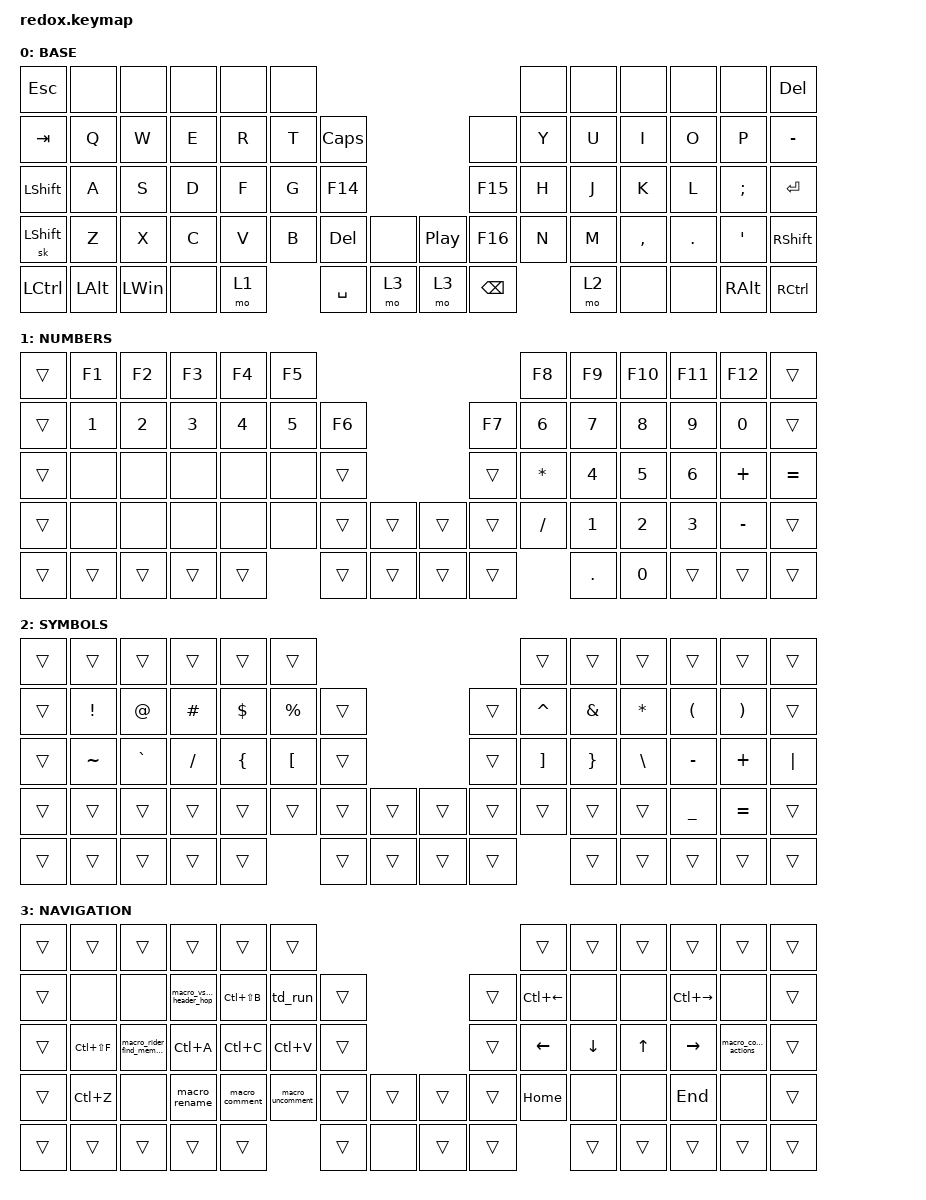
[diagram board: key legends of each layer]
/*
 * Copyright (c) 2021 The ZMK Contributors
 *
 * SPDX-License-Identifier: MIT
 */

#include <behaviors.dtsi>
#include <dt-bindings/zmk/keys.h>

/* 
 * ------------------------------------------- START MOUSE RELATED MAPPINGS ------------------------------------------- 
 * #include <dt-bindings/zmk/mouse.h> 
 * 
 * #define U_MOUSE_MOVE_MAX 3000                   
 * #define U_MOUSE_SCROLL_MAX 50                    
 * #define U_MOUSE_MOVE_EXPONENT 1
 * #define U_MOUSE_MOVE_TIME 1000
 * #define U_MOUSE_MOVE_DELAY 0
 * #define U_MOUSE_SCROLL_EXPONENT 1
 * #define U_MOUSE_SCROLL_TIME 3000
 * #define U_MOUSE_SCROLL_DELAY 0
 * 
 * #undef MOVE_UP
 * #undef MOVE_DOWN
 * #undef MOVE_LEFT
 * #undef MOVE_RIGHT
 * 
 * #define MOVE_UP MOVE_VERT(-U_MOUSE_MOVE_MAX)
 * #define MOVE_DOWN MOVE_VERT(U_MOUSE_MOVE_MAX)
 * #define MOVE_LEFT MOVE_HOR(-U_MOUSE_MOVE_MAX)
 * #define MOVE_RIGHT MOVE_HOR(U_MOUSE_MOVE_MAX)
 * 
 * &mmv {
 *     acceleration-exponent = <U_MOUSE_MOVE_EXPONENT>;
 *     time-to-max-speed-ms = <U_MOUSE_MOVE_TIME>;
 *     delay-ms = <U_MOUSE_MOVE_DELAY>;
 * };
 * 
 * #undef SCROLL_UP
 * #undef SCROLL_DOWN
 * #undef SCROLL_LEFT
 * #undef SCROLL_RIGHT
 * 
 * #define SCROLL_UP SCROLL_VERT(U_MOUSE_SCROLL_MAX)
 * #define SCROLL_DOWN SCROLL_VERT(-U_MOUSE_SCROLL_MAX)
 * #define SCROLL_LEFT SCROLL_HOR(-U_MOUSE_SCROLL_MAX)
 * #define SCROLL_RIGHT SCROLL_HOR(U_MOUSE_SCROLL_MAX)
 * 
 * &mwh {
 *     acceleration-exponent = <U_MOUSE_SCROLL_EXPONENT>;
 *     time-to-max-speed-ms = <U_MOUSE_SCROLL_TIME>;
 *     delay-ms = <U_MOUSE_SCROLL_DELAY>;
 * };
 * 
 * &mt {
 *     tapping-term-ms = <1000>;
 *     flavor = "tap-preferred";
 * };
 * 
 * ------------------------------------------- END MOUSE RELATED MAPPINGS ------------------------------------------- 
 */

&lt {
    bindings = <&to>, <&kp>;

    tapping-term-ms = <500>;
};

/ {
    macros {
        macro_rename: macro_rename {
            compatible = "zmk,behavior-macro";
            #binding-cells = <0>;
            bindings = <&macro_tap>, <&kp LC(R)>, <&macro_tap>, <&kp LC(R)>;
        };

        macro_uncomment: macro_uncomment {
            compatible = "zmk,behavior-macro";
            #binding-cells = <0>;
            bindings = <&macro_tap>, <&kp LC(K)>, <&macro_tap>, <&kp LC(U)>;
        };

        macro_rider_cpp_header_hop: cpp_header_hop {
            compatible = "zmk,behavior-macro";
            #binding-cells = <0>;
            bindings =
                <&macro_press>,
                <&kp LEFT_ALT>,
                <&macro_tap>,
                <&kp O>,
                <&macro_release>,
                <&kp LEFT_ALT>;

            label = "CPP_HEADER_HOP";
        };

        macro_rider_find_member: macro_rider_find_member {
            compatible = "zmk,behavior-macro";
            #binding-cells = <0>;
            bindings =
                <&macro_press>,
                <&kp LEFT_ALT>,
                <&macro_tap>,
                <&kp BACKSLASH>,
                <&macro_release>,
                <&kp LEFT_ALT>;

            label = "MACRO_RIDER_FIND_MEMBER";
        };

        macro_context_actions: macro_context_actions {
            compatible = "zmk,behavior-macro";
            #binding-cells = <0>;
            bindings = <&macro_tap>, <&kp LA(ENTER)>;

            label = "MACRO_CONTEXT_ACTIONS";
        };

        macro_comment: macro_comment {
            compatible = "zmk,behavior-macro";
            #binding-cells = <0>;
            bindings = <&macro_tap>, <&kp LC(K)>, <&macro_tap>, <&kp LC(C)>;

            label = "MACRO_COMMENT";
        };

        macro_vs_cpp_header_hop: macro_vs_cpp_header_hop {
            compatible = "zmk,behavior-macro";
            #binding-cells = <0>;
            bindings = <&macro_tap>, <&kp LC(K)>, <&macro_tap>, <&kp LC(O)>;

            label = "MACRO_VS_CPP_HEADER_HOP";
        };
    };

    combos {
        compatible = "zmk,combos";

        combo_enter {
            bindings = <&kp ENTER>;
            key-positions = <62 63>;
            timeout-ms = <75>;
            layers = <0 1>;
        };

        combo_enter_1h {
            bindings = <&kp ENTER>;
            key-positions = <61 30>;
            timeout-ms = <50>;
            layers = <0 1>;
        };
    };

    behaviors {
        td_run: tap_dance_run {
            compatible = "zmk,behavior-tap-dance";
            #binding-cells = <0>;
            tapping-term-ms = <350>;
            bindings = <&kp LC(F5)>, <&kp LA(F5)>;
        };
    };

    keymap {
        compatible = "zmk,keymap";

        BASE {
            // --------------------------------------------------------------------------------------------------------------------------------
            // | ESC   |  1  |  2  |   3   |  4  |  5  |                   ---                |  6    |  7    |  8    |  9   | 0  |    BKSP   |
            // | TAB   |  Q  |  W  |   E   |  R  |  T  |   (   |           ---        |  )    |  Y    |  U    |  I    |  O   | P  |     -     |
            // | CTRL  |  A  |  S  |   D   |  F  |  G  |   [   |           ---        |  ]    |  H    |  J    |  K    |  L   | ;  |     '     |
            // | SHIFT |  Z  |  X  |   C   |  V  |  B  | PG_UP | PG_DOWN | --- | HOME | END   |  N    |  M    |  ,    |  .   | /  | SHFT(RET) |
            // | CRTL  | ALT | GUI | LOWER |    GUI    | LOWER | SPACE   | --- | DEL  | SPACE |     RAISE     | LEFT  | DOWN | UP |   RIGHT   |

            bindings = <
&kp ESC           &none     &none     &none  &none  &none                                                &none  &none  &none      &none    &none     &kp DELETE
&kp TAB           &kp Q     &kp W     &kp E  &kp R  &kp T  &kp CAPS                       &none          &kp Y  &kp U  &kp I      &kp O    &kp P     &kp MINUS
&kp LEFT_SHIFT    &kp A     &kp S     &kp D  &kp F  &kp G  &kp F14                        &kp F15        &kp H  &kp J  &kp K      &kp L    &kp SEMI  &kp ENTER
&sk LEFT_SHIFT    &kp Z     &kp X     &kp C  &kp V  &kp B  &kp DELETE  &none    &kp C_PP  &kp F16        &kp N  &kp M  &kp COMMA  &kp DOT  &kp SQT   &kp RIGHT_SHIFT
&kp LEFT_CONTROL  &kp LALT  &kp LWIN  &none  &mo 1         &kp SPACE   &mo 3    &mo 3     &kp BACKSPACE         &mo 2  &none      &none    &kp RALT  &kp RCTRL
            >;
        };

        NUMBERS {
            // ----------------------------------------------------------------------------------------------------------------------------
            // | ESC   |  1  |  2  |   3   |  4  |  5  |                   ---                |  6   |  7   |  8   |  9   |  0    |  DEL  |
            // | ESC   |  !  |  @  |   #   |  $  |  %  |   (   |           ---        |  )    |  ^   |  &   |  *   |  (   |  )    |  DEL  |
            // | CTRL  |  _  |  +  |   {   |  }  | "|" |   [   |           ---        |  ]    | HOME | PGUP | PRSC | UP   |  `    |   ~   |
            // | SHIFT | ESC | GUI |   (   |  )  |     | PG_UP | PG_DOWN | --- | HOME | END   | END  | PGDN | LEFT | DOWN | RIGHT |  RET  |
            // | CRTL  | ALT | GUI | LOWER |    GUI    | LOWER | SPACE   | --- | DEL  | SPACE |    RAISE    | LEFT | DOWN | UP    | RIGHT |

            bindings = <
&trans  &kp F1  &kp F2  &kp F3  &kp F4  &kp F5                                    &kp F8        &kp F9   &kp F10  &kp F11  &kp F12    &trans
&trans  &kp N1  &kp N2  &kp N3  &kp N4  &kp N5  &kp F6                    &kp F7  &kp N6        &kp N7   &kp N8   &kp N9   &kp N0     &trans
&trans  &none   &none   &none   &none   &none   &trans                    &trans  &kp ASTERISK  &kp N4   &kp N5   &kp N6   &kp PLUS   &kp EQUAL
&trans  &none   &none   &none   &none   &none   &trans  &trans    &trans  &trans  &kp FSLH      &kp N1   &kp N2   &kp N3   &kp MINUS  &trans
&trans  &trans  &trans  &trans  &trans          &trans  &trans    &trans  &trans                &kp DOT  &kp N0   &trans   &trans     &trans
            >;
        };

        SYMBOLS {
            bindings = <
&trans  &trans           &trans     &trans     &trans          &trans                                         &trans     &trans           &trans        &trans                &trans                 &trans
&trans  &kp EXCLAMATION  &kp AT     &kp POUND  &kp DOLLAR      &kp PERCENT  &trans                    &trans  &kp CARET  &kp AMPERSAND    &kp ASTERISK  &kp LEFT_PARENTHESIS  &kp RIGHT_PARENTHESIS  &trans
&trans  &kp TILDE        &kp GRAVE  &kp FSLH   &kp LEFT_BRACE  &kp LBKT     &trans                    &trans  &kp RBKT   &kp RIGHT_BRACE  &kp BSLH      &kp MINUS             &kp PLUS               &kp PIPE
&trans  &trans           &trans     &trans     &trans          &trans       &trans  &trans    &trans  &trans  &trans     &trans           &trans        &kp UNDERSCORE        &kp EQUAL              &trans
&trans  &trans           &trans     &trans     &trans                       &trans  &trans    &trans  &trans             &trans           &trans        &trans                &trans                 &trans
            >;
        };

        NAVIGATION {
            // -----------------------------------------------------------------------------------------
            // |  F1   |  F2   |    F3    |    F4     |     F5     | F6 |                   ---                | F7  | F8  |  F9  |  F10 | F11 | F12        |
            // | TAB   |       |          |           |            |    | BOOTL |           ---        |  )    | BT1 | BT2 |  BT3 |  BT4 | BT5 | OUTPUT TGL |
            // | CTRL  | MUTE  |  Vol Dn  |  Vol Up   | Play/Pause |    | RESET |           ---        |  ]    | F1  | F2  |  F3  |  F4  | F5  | F6         |
            // | SHIFT | PSCRN |  PSCRN   |   CAPS    |            |    | PG_UP | PG_DOWN | --- | HOME | END   | F7  | F8  |  F9  |  F10 | F11 | F12        |
            // | CRTL  | ALT   |  GUI     |   LOWER   |      GUI        | LOWER | SPACE   | --- | DEL  | SPACE |   RAISE   | LEFT | DOWN | UP  |   RIGHT    |

            bindings = <
&trans  &trans         &trans                    &trans                    &trans          &trans                                              &trans        &trans    &trans  &trans         &trans                  &trans
&trans  &none          &none                     &macro_vs_cpp_header_hop  &kp LC(LS(B))   &td_run           &trans                    &trans  &kp LC(LEFT)  &none     &none   &kp LC(RIGHT)  &none                   &trans
&trans  &kp LC(LS(F))  &macro_rider_find_member  &kp LC(A)                 &kp LC(C)       &kp LC(V)         &trans                    &trans  &kp LEFT      &kp DOWN  &kp UP  &kp RIGHT      &macro_context_actions  &trans
&trans  &kp LC(Z)      &none                     &macro_rename             &macro_comment  &macro_uncomment  &trans  &trans    &trans  &trans  &kp HOME      &none     &none   &kp END        &none                   &trans
&trans  &trans         &trans                    &trans                    &trans                            &trans  &none     &trans  &trans                &trans    &trans  &trans         &trans                  &trans
            >;
        };
    };
};
